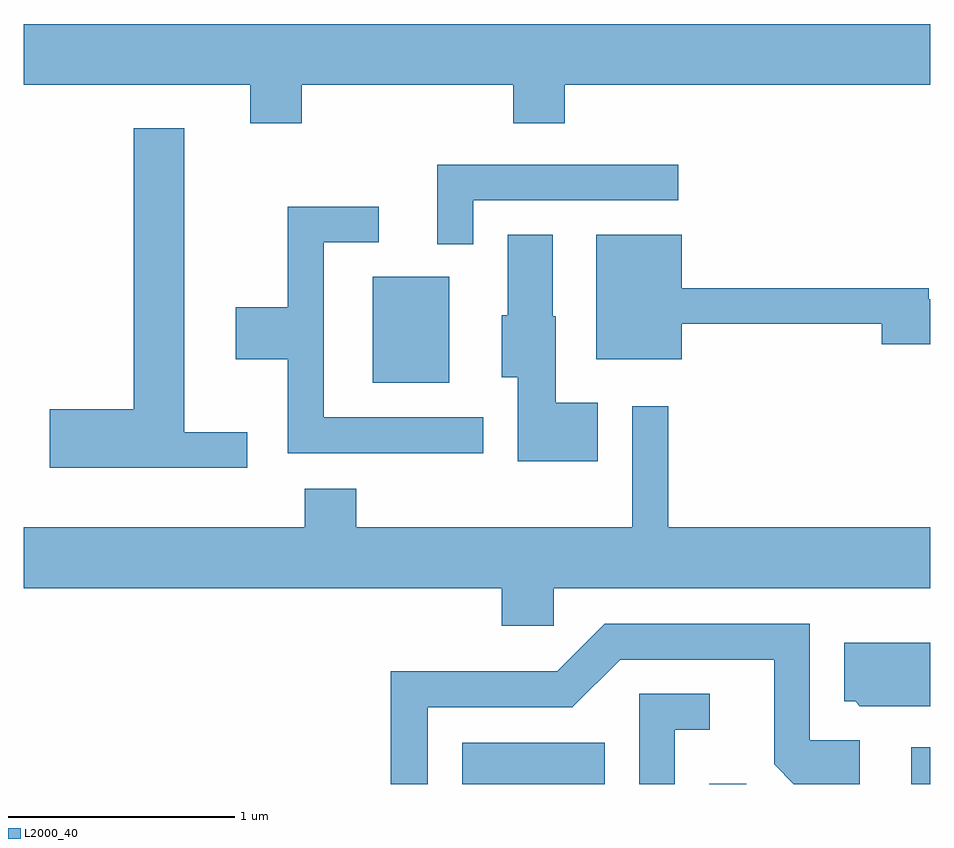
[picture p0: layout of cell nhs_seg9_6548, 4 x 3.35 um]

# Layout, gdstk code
import gdstk
lib = gdstk.Library(unit=1e-6, precision=1e-09)
def R(c, l, rs):  # rectangles x0, y0, x1, y1
    for r in rs: c.add(gdstk.rectangle(r[:2], r[2:], *l))
def P(c, l, *ps):  # polygons
    for p in ps: c.add(gdstk.Polygon(p, *l))
L2000_40 = (2000, 40)

nhs_seg9_6548 = lib.new_cell('nhs_seg9_6548')
R(nhs_seg9_6548, L2000_40, [(379.546,2066.432,380.174,2066.614), (380.636,2066.432,380.799,2066.433), (381.526,2066.432,381.611,2066.593), (379.151,2068.201,379.489,2068.669)])
P(nhs_seg9_6548, L2000_40, [(378.839,2069.516),(379.771,2069.516),(379.771,2069.346),(379.999,2069.346),(379.999,2069.516),(381.611,2069.516),(381.611,2069.784),(377.611,2069.784),(377.611,2069.516),(378.611,2069.516),(378.611,2069.346),(378.839,2069.346)],
  [(378.598,2067.984),(378.319,2067.984),(378.319,2069.324),(378.096,2069.324),(378.096,2068.084),(377.726,2068.084),(377.726,2067.826),(378.598,2067.826)],
  [(379.594,2069.006),(380.498,2069.006),(380.498,2069.164),(379.436,2069.164),(379.436,2068.813),(379.594,2068.813)],
  [(379.638,2068.049),(378.934,2068.049),(378.934,2068.821),(379.178,2068.821),(379.178,2068.979),(378.776,2068.979),(378.776,2068.534),(378.546,2068.534),(378.546,2068.306),(378.776,2068.306),(378.776,2067.891),(379.638,2067.891)],
  [(380.514,2068.461),(381.396,2068.461),(381.396,2068.371),(381.611,2068.371),(381.611,2068.569),(381.604,2068.569),(381.604,2068.619),(380.514,2068.619),(380.514,2068.854),(380.136,2068.854),(380.136,2068.306),(380.514,2068.306)],
  [(380.144,2068.114),(379.959,2068.114),(379.959,2068.495),(379.944,2068.495),(379.944,2068.854),(379.746,2068.854),(379.746,2068.499),(379.721,2068.499),(379.721,2068.226),(379.791,2068.226),(379.791,2067.856),(380.144,2067.856)],
  [(379.949,2067.296),(381.611,2067.296),(381.611,2067.564),(380.454,2067.564),(380.454,2068.097),(380.296,2068.097),(380.296,2067.564),(379.079,2067.564),(379.079,2067.734),(378.851,2067.734),(378.851,2067.564),(377.611,2067.564),(377.611,2067.296),(379.721,2067.296),(379.721,2067.131),(379.949,2067.131)],
  [(379.394,2066.771),(380.032,2066.771),(380.242,2066.981),(380.921,2066.981),(380.921,2066.519),(381.008,2066.432),(381.299,2066.432),(381.299,2066.624),(381.079,2066.624),(381.079,2067.139),(380.174,2067.139),(379.964,2066.929),(379.231,2066.929),(379.231,2066.432),(379.394,2066.432)],
  [(381.611,2067.054),(381.231,2067.054),(381.231,2066.796),(381.279,2066.796),(381.299,2066.776),(381.611,2066.776)],
  [(380.484,2066.671),(380.638,2066.671),(380.638,2066.829),(380.326,2066.829),(380.326,2066.432),(380.484,2066.432)])

lib.write_gds('nhs_seg9_6548.gds')
